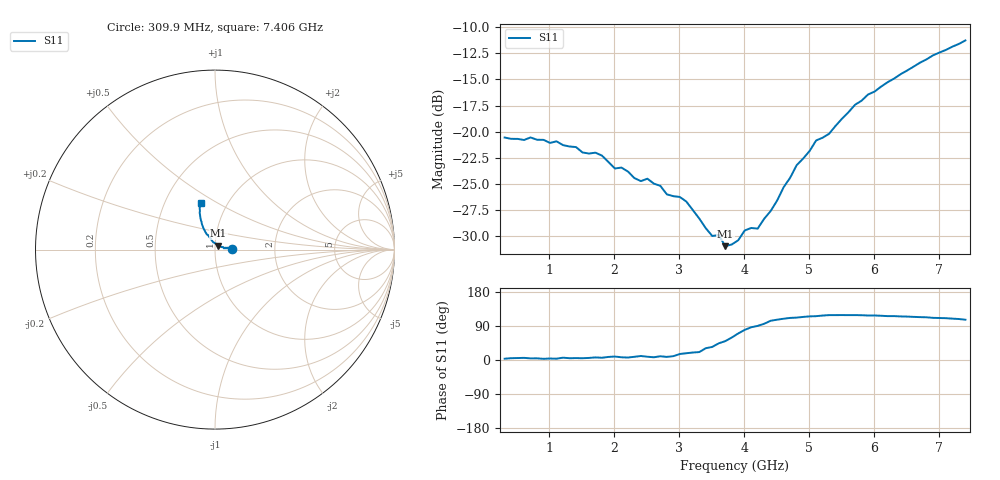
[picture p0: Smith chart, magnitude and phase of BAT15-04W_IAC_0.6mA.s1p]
! Infineon Technologies  Discrete & RF Semiconductors
! BAT15-04W-E6327
! IAC = 0.6 mA
! One-Port S-Parameters
# Hz  S  MA  R  50
!f  S11
!Hz  Mag  Ang
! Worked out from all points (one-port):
!   72 points, 309.9 MHz to 7.406 GHz, reference 50 ohm
!   lowest |S11| = -30.9 dB at 3.708 GHz (marker M1), VSWR 1.06, Z = 51.8 + j2.25 ohm
!   |S11| at or under -10 dB: start of sweep to end of sweep
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3.0985e8  0.0938 3.4
7.0965e8  0.09389 4.3
1.2094e9  0.08628 6.1
1.4093e9  0.08445 5.0
1.50925e9  0.07962 4.7
1.70915e9  0.07941 6.8
2.009e9  0.06673 9.1
2.10895e9  0.06739 7.2
2.30885e9  0.06005 8.5
2.4088e9  0.05808 10.6
2.50875e9  0.05964 8.6
2.70865e9  0.05511 9.9
2.8086e9  0.05021 8.2
3.0085e9  0.04878 15.9
3.10845e9  0.04639 17.9
3.50825e9  0.03177 34.5
3.6082e9  0.03209 44.0
3.70815e9  0.0284 49.8
3.90805e9  0.03031 70.1
4.008e9  0.03376 79.5
4.2079e9  0.03445 90.0
4.50775e9  0.04695 106.4
4.8076e9  0.06917 111.9
5.10745e9  0.0908 115.7
5.30735e9  0.09774 118.4
5.70715e9  0.1345 118.5
6.6067e9  0.2043 113.8
7.4063e9  0.2727 106.3
